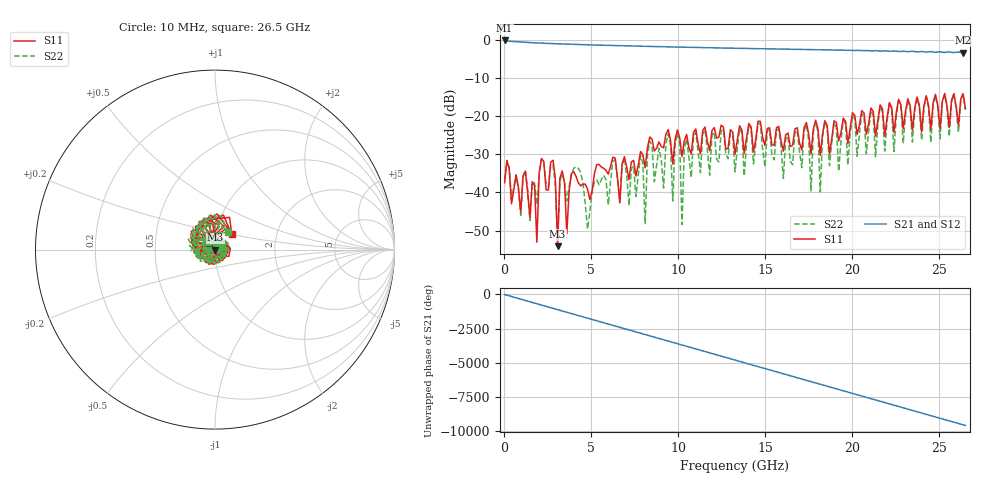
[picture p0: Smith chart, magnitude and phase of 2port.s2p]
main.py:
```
import sys
from pathlib import Path

from PySide6.QtWidgets import QApplication

from rf_analysis import VNAAnalysis
from gating import DUT, GateModel
from app import TimeGatingApp


FILE = Path("data/2port.s2p")

VELOCITY_FACTOR = 0.765
DUT_LENGTH_IN = 8.0
ADAPTERS_PRESENT = False

REPORT_START_GHZ = 2.0
REPORT_STOP_GHZ = 26.5


def main():

    qt_app = QApplication(sys.argv)

    analysis = VNAAnalysis(FILE)

    dut = DUT(
        length_in=DUT_LENGTH_IN,
        velocity_factor=VELOCITY_FACTOR,
    )

    model = GateModel(
        dut=dut,
        rp_delay_ns=analysis.average_transmission_delay_ns,
        adapters=ADAPTERS_PRESENT,
    )

    window = TimeGatingApp(
        analysis=analysis,
        model=model,
        report_start_ghz=REPORT_START_GHZ,
        report_stop_ghz=REPORT_STOP_GHZ,
    )

    window.show()

    sys.exit(qt_app.exec())


if __name__ == "__main__":
    main()
```
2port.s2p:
!Keysight Technologies,N5222A,MY51421047,A.10.65.16
!Date: Friday, September 25, 2026 12:48:36
!Correction: S11(Full 2 Port(1,2))
!S21(Full 2 Port(1,2))
!S12(Full 2 Port(1,2))
!S22(Full 2 Port(1,2))
!S2P File: Measurements: S11, S21, S12, S22:
# Hz S  RI  R 50
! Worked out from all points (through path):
!   201 points, 10 MHz to 26.5 GHz, reference 50 ohm
!   highest |S21| = -0.12 dB at 10 MHz (marker M1); lowest = -3.3 dB at 26.37 GHz (marker M2)
!   lowest |S11| = -54.1 dB at 3.056 GHz (marker M3), VSWR 1.00, Z = 50.2 - j0.102 ohm
!   |S11| at or under -10 dB: start of sweep to end of sweep
!   |S22| runs from -52.8 to -14.3 dB; largest |S21 - S12| = 0.0011
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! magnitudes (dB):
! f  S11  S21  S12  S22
! 10 MHz  -37.4  -0.1  -0.1  -36.7
! 1.864 GHz  -53.0  -0.8  -0.8  -43.2
! 2.129 GHz  -31.1  -0.8  -0.8  -31.3
! 2.791 GHz  -31.5  -1.0  -1.0  -32.7
! 3.056 GHz  -54.1  -1.0  -1.0  -52.8
! 3.321 GHz  -34.4  -1.0  -1.0  -35.2
! 3.586 GHz  -50.8  -1.1  -1.1  -42.3
! 3.983 GHz  -34.5  -1.1  -1.1  -33.7
! 13.26 GHz  -30.0  -2.1  -2.1  -34.6
! 26.37 GHz  -14.1  -3.3  -3.3  -14.3
! 26.5 GHz  -17.9  -3.2  -3.2  -18.3
